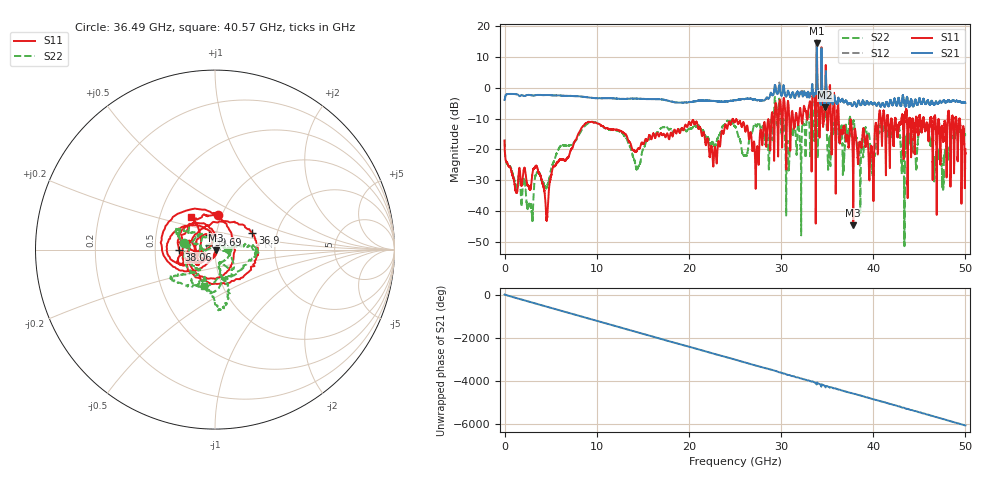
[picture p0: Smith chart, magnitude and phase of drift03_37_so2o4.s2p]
!Created with skrf (http://scikit-rf.org).
# Hz S RI R 50.0
!freq ReS11 ImS11 ReS21 ImS21 ReS12 ImS12 ReS22 ImS22
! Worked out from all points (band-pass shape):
!   10001 points, 300 kHz to 50 GHz, reference 50 ohm
!   highest |S21| = 14.39 dB at 33.88 GHz (marker M1); lowest = -6.3 dB at 34.79 GHz (marker M2)
!   |S21| within 3 dB of the highest: 33.86931 GHz to 33.88843 GHz (19.12 MHz wide, 0.0564 % of centre); 34.37702 GHz to 34.38946 GHz (12.44 MHz wide, 0.0362 % of centre)
!   lowest |S11| = -44.7 dB at 37.83 GHz (marker M3), VSWR 1.01, Z = 50.3 - j0.502 ohm
!   |S11| at or under -10 dB: start of sweep to 28.94 GHz; 36.27 GHz to 40.61 GHz (4.341 GHz wide, 11.3 % of centre); 46.74 GHz to 48.08 GHz (1.34 GHz wide, 2.83 % of centre) (the widest 3 of 62)
!   |S22| runs from -51.4 to 11.0 dB; largest |S21 - S12| = 0.82
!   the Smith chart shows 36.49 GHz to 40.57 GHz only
!   S11 on the Smith chart (normalised r, x): 36.49 GHz: 0.96, +0.39; 36.9 GHz: 1.49, +0.29; 38.06 GHz: 0.67, -0.00; 39.69 GHz: 0.92, +0.15; 40.57 GHz: 0.72, +0.28
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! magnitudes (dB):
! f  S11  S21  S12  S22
! 300 kHz  -17.1  -4.0  -4.0  -16.8
! 2.825 GHz  -32.6  -2.4  -2.4  -38.2
! 4.555 GHz  -43.1  -2.3  -2.3  -32.3
! 8.335 GHz  -13.1  -2.8  -2.8  -13.9
! 14.43 GHz  -19.9  -3.5  -3.5  -26.2
! 16.67 GHz  -15.4  -3.7  -3.7  -14.3
! 22.82 GHz  -19.3  -4.3  -4.3  -19.1
! 25 GHz  -11.0  -4.0  -4.0  -12.5
! 27.39 GHz  -19.4  -4.1  -4.1  -12.4
! 29.6 GHz  -10.4  -2.0  -2.1  -11.7
! 30.7 GHz  -5.5  -1.4  -1.4  -17.2
! 33.34 GHz  -13.7  -0.5  -0.5  -7.2
! 33.88 GHz  15.4  14.4  14.1  10.9
! 34.79 GHz  -3.2  -6.3  -4.9  -8.6
! 36.49 GHz  -14.1  -4.4  -4.4  -15.0
! 36.9 GHz  -12.9  -4.5  -4.5  -19.6
! 37.83 GHz  -44.7  -5.5  -5.5  -11.2
! 38.06 GHz  -14.0  -5.4  -5.4  -17.1
! 39.69 GHz  -21.1  -4.7  -4.7  -19.9
! 40.57 GHz  -13.0  -4.8  -4.9  -13.6
! 41.67 GHz  -12.1  -6.0  -6.0  -15.3
! 50 GHz  -19.9  -4.9  -4.9  -15.0
